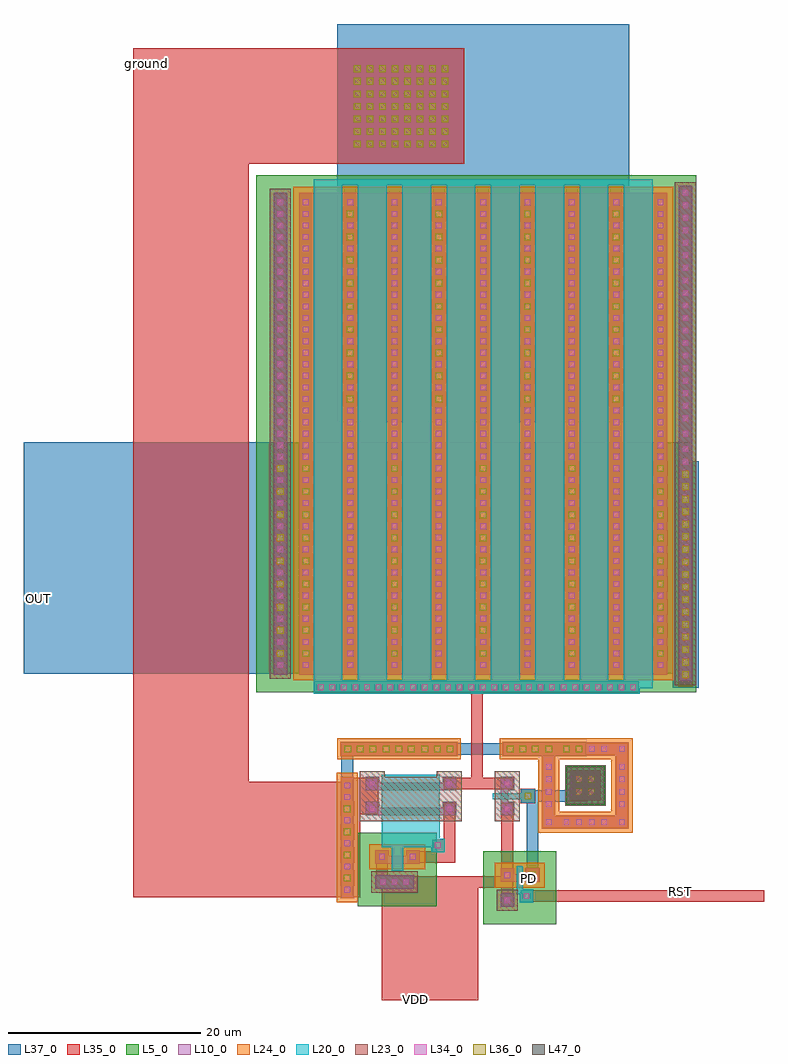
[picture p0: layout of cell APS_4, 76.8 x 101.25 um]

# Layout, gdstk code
from math import pi, radians
import gdstk
lib = gdstk.Library(unit=1e-6, precision=1e-09)
def R(c, l, rs):  # rectangles x0, y0, x1, y1
    for r in rs: c.add(gdstk.rectangle(r[:2], r[2:], *l))
def A(c, l, x, y, w, h, nx, ny, dx, dy):  # array of equal rectangles
    R(c, l, [(x+i*dx, y+j*dy, x+i*dx+w, y+j*dy+h) for i in range(nx) for j in range(ny)])
def P(c, l, *ps):  # polygons
    for p in ps: c.add(gdstk.Polygon(p, *l))
L5_0 = (5, 0)
L10_0 = (10, 0)
L20_0 = (20, 0)
L23_0 = (23, 0)
L24_0 = (24, 0)
L34_0 = (34, 0)
L35_0 = (35, 0)
L36_0 = (36, 0)
L37_0 = (37, 0)
L47_0 = (47, 0)

espejo = lib.new_cell('espejo')
R(espejo, L5_0, [(-4.3,-6.75,3.9,-4.15), (-4.3,-4.15,3.9,0.85)])
R(espejo, L10_0, [(-6.1,-5.95,-4.7,6.65), (-2.5,-4.95,1.5,-3.55)])
P(espejo, L10_0, [(-1.8,5.25),(-1.8,6.05),(-2.1,6.05),(-2.1,6.65),(-3.5,6.65),(-3.5,5.25)],
  [(5.9,5.25),(5.9,6.65),(4.5,6.65),(4.5,6.05),(-2.1,6.05),(-2.1,6.65),(-3.5,6.65),(-3.5,5.25)],
  [(5.9,5.25),(5.9,6.65),(4.5,6.65),(4.5,6.05),(4.2,6.05),(4.2,5.25)],
  [(-1.8,2.65),(-1.8,3.45),(-2.1,3.45),(-2.1,4.05),(-3.5,4.05),(-3.5,2.65)],
  [(5.9,2.65),(5.9,4.05),(4.5,4.05),(4.5,3.45),(-2.1,3.45),(-2.1,4.05),(-3.5,4.05),(-3.5,2.65)],
  [(5.9,2.65),(5.9,4.05),(4.5,4.05),(4.5,3.45),(4.2,3.45),(4.2,2.65)],
  [(-0.8,-2.35),(-0.8,-1.55),(-1.1,-1.55),(-1.1,-0.95),(-2.5,-0.95),(-2.5,-2.35)],
  [(2.1,-2.35),(2.1,-0.95),(0.7,-0.95),(0.7,-1.55),(-1.1,-1.55),(-1.1,-0.95),(-2.5,-0.95),(-2.5,-2.35)],
  [(2.1,-2.35),(2.1,-0.95),(0.7,-0.95),(0.7,-1.55),(0.4,-1.55),(0.4,-2.35)])
A(espejo, L20_0, -0.8, -3.15, 1.2, 0.8, 1, 3, 0, 0.8)
A(espejo, L20_0, -1.8, 1.85, 6, 0.8, 1, 3, 0, 0.8)
A(espejo, L20_0, -1.8, 4.45, 6, 0.8, 1, 3, 0, 0.8)
R(espejo, L20_0, [(3.3,-1.15,4.7,0.25), (-0.8,-0.75,0.4,-0.65), (-1.8,-0.65,4.2,1.85), (-1.8,4.25,4.2,4.45)])
R(espejo, L23_0, [(-2.9,-5.35,1.9,-3.15), (-1.5,4.05,3.9,4.65)])
P(espejo, L23_0, [(-4.1,4.65),(6.5,4.65),(6.5,7.25),(3.9,7.25),(3.9,6.65),(-1.5,6.65),(-1.5,7.25),(-4.1,7.25)],
  [(-4.1,2.05),(6.5,2.05),(6.5,4.65),(3.9,4.65),(3.9,4.05),(-1.5,4.05),(-1.5,4.65),(-4.1,4.65)])
R(espejo, L24_0, [(-6.5,-6.35,-4.3,7.05), (-3.1,-2.95,2.7,-0.35)])
A(espejo, L34_0, -5.7, -5.35, 0.6, 0.6, 1, 10, 0, 1.2)
A(espejo, L34_0, -2, -4.55, 0.6, 0.6, 3, 1, 1.2, 0)
R(espejo, L34_0, [(-2.1,-1.95,-1.5,-1.35), (1.1,-1.95,1.7,-1.35), (3.7,-0.75,4.3,-0.15), (-3.1,3.05,-2.5,3.65), (4.9,3.05,5.5,3.65), (-3.1,5.65,-2.5,6.25), (4.9,5.65,5.5,6.25)])
R(espejo, L35_0, [(-6,-5.85,-4.8,6.55), (-2.4,-4.85,1.4,-3.65), (-2.4,-4.85,-1.2,-1.05), (-2.25,-4.7,-1.35,-3.8), (-2.4,-2.25,-1.2,-1.05), (0.8,-2.25,2,-1.05), (0.8,-2.25,5.8,-1.05), (4.6,-2.25,5.8,3.95), (3.4,-1.05,4.6,0.15), (-4.8,2.75,-2.2,6.55), (-3.4,2.75,-2.2,3.95), (4.6,2.75,5.8,3.95), (-3.25,2.9,-2.35,3.8), (-3.4,5.35,-2.2,6.55), (4.6,5.35,5.8,6.55), (4.75,5.5,5.65,6.4)])
espejo.add(gdstk.Label('ground', (-2.8,3.35), layer=54, texttype=0))
espejo.add(gdstk.Label('IOUT', (5.2,5.95), layer=54, texttype=0))
espejo.add(gdstk.Label('VDD', (-1.8,-4.25), layer=54, texttype=0))

aps2_llavep = lib.new_cell('APS2_llaveP')
R(aps2_llavep, L5_0, [(5.1,-6.8,10.1,0.8), (10.1,-6.8,12.7,0.8), (-3.7,1.8,0.3,5.8)])
R(aps2_llavep, L10_0, [(9.5,-5,10.9,-3.6), (-3.2,2.3,-0.2,5.3)])
P(aps2_llavep, L10_0, [(-0.9,-5),(-0.9,-4.2),(-1.2,-4.2),(-1.2,-3.6),(-2.6,-3.6),(-2.6,-5)],
  [(1.4,-5),(1.4,-3.6),(0,-3.6),(0,-4.2),(-1.2,-4.2),(-1.2,-3.6),(-2.6,-3.6),(-2.6,-5)],
  [(1.4,-5),(1.4,-3.6),(0,-3.6),(0,-4.2),(-0.3,-4.2),(-0.3,-5)],
  [(2.8,8.3),(2.8,0.7),(1.4,0.7),(1.4,6.9),(-4.8,6.9),(-4.8,0.7),(2.8,0.7),(2.8,-0.7),(-6.2,-0.7),(-6.2,8.3)],
  [(8.3,-3.3),(7.5,-3.3),(7.5,-3.6),(6.9,-3.6),(6.9,-5),(8.3,-5)],
  [(8.3,-1),(6.9,-1),(6.9,-2.4),(7.5,-2.4),(7.5,-3.6),(6.9,-3.6),(6.9,-5),(8.3,-5)],
  [(8.3,-1),(6.9,-1),(6.9,-2.4),(7.5,-2.4),(7.5,-2.7),(8.3,-2.7)])
A(aps2_llavep, L20_0, -0.9, -5.8, 0.6, 0.8, 1, 3, 0, 0.8)
A(aps2_llavep, L20_0, 6.7, -3.3, 0.8, 0.6, 3, 1, 0.8, 0)
R(aps2_llavep, L20_0, [(-0.9,-3.4,-0.3,-2.85), (9.1,-3.3,9.6,-3), (9.05,-3,10.45,-1.6), (-1.3,-2.85,0.1,-1.45)])
R(aps2_llavep, L23_0, [(-3.2,-5.6,2,-3), (9.1,-5.4,11.3,-3.2), (-3.6,1.9,0.2,5.7)])
R(aps2_llavep, L24_0, [(6.3,-5.6,8.9,-0.4)])
P(aps2_llavep, L24_0, [(3.2,8.7),(3.2,1.1),(1,1.1),(1,6.5),(-4.4,6.5),(-4.4,1.1),(3.2,1.1),(3.2,-1.1),(-6.6,-1.1),(-6.6,8.7)])
A(aps2_llavep, L34_0, -3.95, -0.3, 0.6, 0.6, 4, 2, 1.3, 7.6)
A(aps2_llavep, L34_0, -5.8, 1.55, 0.6, 0.6, 1, 4, 0, 1.3)
A(aps2_llavep, L34_0, 1.8, 1.55, 0.6, 0.6, 1, 4, 0, 1.3)
R(aps2_llavep, L34_0, [(-2.2,-4.6,-1.6,-4), (0.4,-4.6,1,-4), (7.3,-4.6,7.9,-4), (9.9,-4.6,10.5,-4), (9.45,-2.6,10.05,-2), (-0.9,-2.45,-0.3,-1.85), (7.3,-2,7.9,-1.4), (-5.8,-0.3,-5.2,0.3), (1.8,-0.3,2.4,0.3), (-2.65,2.85,-2.05,3.45), (-1.35,2.85,-0.75,3.45), (-2.65,4.15,-2.05,4.75), (-1.35,4.15,-0.75,4.75), (-5.8,7.3,-5.2,7.9), (1.8,7.3,2.4,7.9)])
R(aps2_llavep, L35_0, [(-2.5,-4.9,-1.3,-3.7), (0.1,-4.9,1.3,-3.7), (0.1,-4.9,10.8,-3.7), (7,-4.9,8.2,-3.7), (9.6,-4.9,10.8,-3.7), (-2.35,-4.75,-1.45,-3.85), (9.75,-4.75,10.65,-3.85), (-1.35,-2.9,0.15,-1.4), (9.15,-2.9,10.35,-1.7), (-1.2,-2.75,0,-1.55), (9.3,-2.75,10.2,-1.85), (6.85,-2.45,8.35,-0.95), (7,-2.3,8.2,-1.1), (7.15,-2.15,8.05,-1.25), (-3.3,2.2,-0.1,5.4), (-3.1,2.4,-1.6,3.9), (-1.8,2.4,-0.3,3.9), (-3.1,3.7,-1.6,5.2), (-1.8,3.7,-0.3,5.2), (1.65,7.15,2.55,8.05)])
P(aps2_llavep, L35_0, [(2.7,8.2),(2.7,0.6),(1.5,0.6),(1.5,7),(-4.9,7),(-4.9,0.6),(2.7,0.6),(2.7,-0.6),(-6.1,-0.6),(-6.1,8.2)])
R(aps2_llavep, L36_0, [(-0.95,-2.5,-0.25,-1.8), (7.25,-2.05,7.95,-1.35), (-2.7,2.8,-2,3.5), (-1.4,2.8,-0.7,3.5), (-2.7,4.1,-2,4.8), (-1.4,4.1,-0.7,4.8)])
R(aps2_llavep, L37_0, [(-1.35,-2.9,0.15,-1.4), (-1.2,-2.5,0,4), (6.85,-2.45,8.35,-0.95), (-1.2,-2.3,8.2,-1.1), (-3.1,2.4,-1.6,3.9), (-1.8,2.4,-0.3,3.9), (-3.1,3.7,-1.6,5.2), (-1.8,3.7,-0.3,5.2)])
R(aps2_llavep, L47_0, [(-3.8,1.7,0.4,5.9)])

aps_4 = lib.new_cell('APS_4')
R(aps_4, L5_0, [(12.1,-29.45,14.75,24.15), (14.75,-29.45,57.75,24.15)])
A(aps_4, L10_0, 20.9, -36.05, 1.4, 1.4, 3, 1, 1.3, 0)
A(aps_4, L10_0, 24.9, -36.05, 1.4, 1.4, 3, 1, 1.3, 0)
A(aps_4, L10_0, 28.9, -36.05, 1.4, 1.4, 3, 1, 1.3, 0)
A(aps_4, L10_0, 37.75, -36.05, 1.4, 1.4, 3, 1, 1.3, 0)
R(aps_4, L10_0, [(55.95,-28.35,57.35,23.05), (13.9,-27.65,15.3,22.35), (16.55,-27.65,54.75,22.35), (16.55,-27.65,18.05,22.35), (53.25,-27.65,54.75,22.35)])
A(aps_4, L20_0, 18.05, -28.45, 3, 0.8, 8, 2, 4.6, 50.8)
A(aps_4, L20_0, 18.05, -27.65, 3, 50, 8, 1, 4.6, 0)
R(aps_4, L20_0, [(18.05,-29.65,51.9,-28.25), (18.05,-29.05,53.25,-28.45), (18.05,23.15,53.25,23.75)])
R(aps_4, L23_0, [(55.55,-28.75,57.75,23.45), (13.5,-28.05,15.7,22.75)])
A(aps_4, L24_0, 20.5, -36.45, 2.2, 2.2, 3, 1, 1.3, 0)
A(aps_4, L24_0, 24.5, -36.45, 2.2, 2.2, 3, 1, 1.3, 0)
A(aps_4, L24_0, 28.5, -36.45, 2.2, 2.2, 3, 1, 1.3, 0)
A(aps_4, L24_0, 37.35, -36.45, 2.2, 2.2, 3, 1, 1.3, 0)
R(aps_4, L24_0, [(15.95,-28.25,55.35,22.95)])
A(aps_4, L34_0, 21.3, -35.65, 0.6, 0.6, 3, 1, 1.3, 0)
A(aps_4, L34_0, 25.3, -35.65, 0.6, 0.6, 3, 1, 1.3, 0)
A(aps_4, L34_0, 29.3, -35.65, 0.6, 0.6, 3, 1, 1.3, 0)
A(aps_4, L34_0, 38.15, -35.65, 0.6, 0.6, 3, 1, 1.3, 0)
A(aps_4, L34_0, 18.5, -29.25, 0.6, 0.6, 28, 1, 1.2, 0)
A(aps_4, L34_0, 56.35, -27.95, 0.6, 0.6, 1, 19, 0, 1.3)
A(aps_4, L34_0, 14.3, -26.95, 0.6, 0.6, 1, 41, 0, 1.2)
A(aps_4, L34_0, 16.95, -26.95, 0.6, 0.6, 9, 41, 4.6, 1.2)
A(aps_4, L34_0, 56.35, -1.35, 0.6, 0.6, 1, 19, 0, 1.3)
R(aps_4, L34_0, [(56.35,-2.95,56.95,-2.35)])
A(aps_4, L35_0, 20.8, -49.5, 1.5, 1.5, 1, 4, 0, 2.4)
A(aps_4, L35_0, 20.8, -36.1, 4.2, 1.5, 3, 1, 4, 0)
A(aps_4, L35_0, 21, -35.95, 1.2, 1.2, 3, 1, 1.3, 0)
A(aps_4, L35_0, 25, -35.95, 1.2, 1.2, 3, 1, 1.3, 0)
A(aps_4, L35_0, 29, -35.95, 1.2, 1.2, 3, 1, 1.3, 0)
A(aps_4, L35_0, 37.85, -35.95, 1.2, 1.2, 3, 1, 1.3, 0)
A(aps_4, L35_0, 16.65, -27.55, 1.2, 49.8, 9, 1, 4.6, 0)
A(aps_4, L35_0, 13.85, -26.2, 1.5, 1.5, 1, 9, 0, 2.4)
A(aps_4, L35_0, 16.5, -26.2, 1.5, 1.5, 5, 9, 9.2, 2.4)
A(aps_4, L35_0, 21.1, 0.2, 1.5, 1.5, 4, 9, 9.2, 2.4)
R(aps_4, L35_0, [(25.15,-61.4,35.15,-49.75), (33.3,-61.25,34.2,-60.35), (39.55,-51.2,64.8,-50), (39.7,-51.05,40.6,-50.15), (-0.65,-50.75,22.15,-38.75), (21.2,-50.75,22.9,-41.2), (27.15,-49.75,38.75,-48.55), (40.3,-48.9,41.2,-48), (31.55,-39.55,38.75,-38.35), (34.4,-39.55,35.6,-28.35), (37.65,-36.1,41.85,-34.6), (41.7,-36.1,43.2,-34.6), (43.2,-36.1,43.55,-34.6), (43.55,-36.1,45.05,-34.6), (44.85,-36.1,46.35,-34.6), (18.15,-29.55,51.8,-28.35), (55.9,-28.9,57.4,-5.6), (56.05,-28.25,57.25,22.95), (14,-27.55,15.2,22.25), (21.4,26.15,32.95,36.5)])
P(aps_4, L35_0, [(-0.65,-50.75),(11.35,-50.75),(11.35,25.35),(33.7,25.35),(33.7,37.35),(-0.65,37.35)])
A(aps_4, L36_0, 21.2, -49.1, 0.7, 0.7, 1, 4, 0, 2.4)
A(aps_4, L36_0, 21.25, -35.7, 0.7, 0.7, 3, 1, 1.3, 0)
A(aps_4, L36_0, 25.25, -35.7, 0.7, 0.7, 3, 1, 1.3, 0)
A(aps_4, L36_0, 29.25, -35.7, 0.7, 0.7, 3, 1, 1.3, 0)
A(aps_4, L36_0, 38.1, -35.7, 0.7, 0.7, 3, 1, 1.3, 0)
A(aps_4, L36_0, 56.3, -28, 0.7, 0.7, 1, 17, 0, 1.3)
A(aps_4, L36_0, 14.25, -25.8, 0.7, 0.7, 1, 9, 0, 2.4)
A(aps_4, L36_0, 16.9, -25.8, 0.7, 0.7, 5, 9, 9.2, 2.4)
A(aps_4, L36_0, 21.5, 0.6, 0.7, 0.7, 4, 9, 9.2, 2.4)
A(aps_4, L36_0, 22.25, 27.05, 0.7, 0.7, 8, 7, 1.3, 1.3)
R(aps_4, L36_0, [(42.1,-35.7,42.8,-35), (43.95,-35.7,44.65,-35), (45.25,-35.7,45.95,-35)])
A(aps_4, L37_0, 20.8, -49.5, 1.5, 1.5, 1, 4, 0, 2.4)
A(aps_4, L37_0, 20.8, -36.1, 4.2, 1.5, 3, 1, 4, 0)
A(aps_4, L37_0, 13.85, -26.2, 1.5, 1.5, 1, 9, 0, 2.4)
A(aps_4, L37_0, 16.5, -26.2, 1.5, 1.5, 5, 9, 9.2, 2.4)
A(aps_4, L37_0, 21.1, 0.2, 1.5, 1.5, 4, 9, 9.2, 2.4)
R(aps_4, L37_0, [(37.65,-36.1,41.85,-34.6), (41.7,-36.1,43.2,-34.6), (43.2,-36.1,43.55,-34.6), (43.55,-36.1,45.05,-34.6), (44.85,-36.1,46.35,-34.6), (55.3,-29,58,-5.5), (55.9,-28.9,57.4,-5.6), (-12,-27.55,15.6,-3.55), (14.05,-27.55,57.25,-3.55), (-4.55,-16.05,-3.65,-15.15), (20.5,-1.45,50.8,39.85), (21.4,26.15,32.95,36.5), (27.55,34.55,28.45,35.45)])
P(aps_4, L37_0, [(20.95,-50.75),(22.15,-50.75),(22.15,-35.95),(46.25,-35.95),(46.25,-34.75),(20.95,-34.75)])
aps_4.add(gdstk.Reference(espejo, (26.95,-44.9)))
aps_4.add(gdstk.Reference(aps2_llavep, (42.45,-40.85), rotation=3*pi/2))
aps_4.add(gdstk.Label('VDD', (28.65,-61.3), layer=54, texttype=0))
aps_4.add(gdstk.Label('ground', (0.75,35.75), layer=54, texttype=0))
aps_4.add(gdstk.Label('PD', (40.35,-48.75), layer=54, texttype=0))
aps_4.add(gdstk.Label('OUT', (-10.45,-19.8), layer=54, texttype=0))
aps_4.add(gdstk.Label('RST', (56.1,-50.1), layer=54, texttype=0))

lib.write_gds('APS_4.gds')
